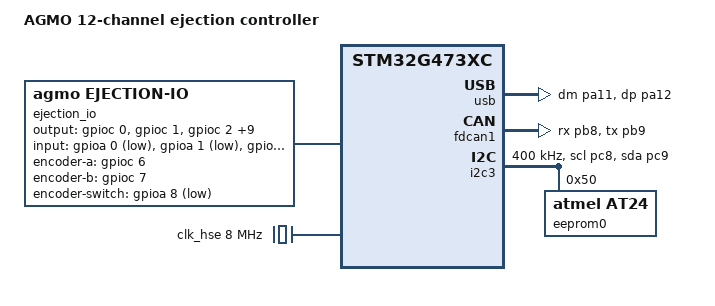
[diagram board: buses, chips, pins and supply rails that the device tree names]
/* SPDX-License-Identifier: Apache-2.0 */

/dts-v1/;
#include <st/g4/stm32g473Xc.dtsi>
#include <st/g4/stm32g473r(b-c-e)tx-pinctrl.dtsi>
#include "agmo_ejection-pinctrl.dtsi"

/ {
	model = "AGMO 12-channel ejection controller";
	compatible = "agmo,ejection-controller";

	chosen {
		zephyr,sram = &sram0;
		zephyr,flash = &flash0;
		zephyr,canbus = &fdcan1;
	};

	ejection_io: ejection-io {
		compatible = "agmo,ejection-io";

		/* MCU HIGH enables the input LED of each output optocoupler. */
		output-gpios = <&gpioc 0 GPIO_ACTIVE_HIGH>,
			       <&gpioc 1 GPIO_ACTIVE_HIGH>,
			       <&gpioc 2 GPIO_ACTIVE_HIGH>,
			       <&gpioc 3 GPIO_ACTIVE_HIGH>,
			       <&gpioa 4 GPIO_ACTIVE_HIGH>,
			       <&gpioa 5 GPIO_ACTIVE_HIGH>,
			       <&gpioa 6 GPIO_ACTIVE_HIGH>,
			       <&gpioa 7 GPIO_ACTIVE_HIGH>,
			       <&gpioc 4 GPIO_ACTIVE_HIGH>,
			       <&gpioc 5 GPIO_ACTIVE_HIGH>,
			       <&gpiob 0 GPIO_ACTIVE_HIGH>,
			       <&gpiob 1 GPIO_ACTIVE_HIGH>;

		/* TLP293 collectors are pulled up on the MCU side: active is low. */
		input-gpios = <&gpioa 0 GPIO_ACTIVE_LOW>,
			      <&gpioa 1 GPIO_ACTIVE_LOW>,
			      <&gpioa 2 GPIO_ACTIVE_LOW>,
			      <&gpioa 3 GPIO_ACTIVE_LOW>,
			      <&gpiob 7 GPIO_ACTIVE_LOW>,
			      <&gpiob 6 GPIO_ACTIVE_LOW>,
			      <&gpiob 5 GPIO_ACTIVE_LOW>,
			      <&gpiob 4 GPIO_ACTIVE_LOW>,
			      <&gpioa 15 GPIO_ACTIVE_LOW>,
			      <&gpioc 12 GPIO_ACTIVE_LOW>,
			      <&gpioc 11 GPIO_ACTIVE_LOW>,
			      <&gpioc 10 GPIO_ACTIVE_LOW>,
			      <&gpioc 13 GPIO_ACTIVE_LOW>,
			      <&gpioc 14 GPIO_ACTIVE_LOW>;

		encoder-a-gpios = <&gpioc 6 GPIO_ACTIVE_HIGH>;
		encoder-b-gpios = <&gpioc 7 GPIO_ACTIVE_HIGH>;
		encoder-switch-gpios = <&gpioa 8 GPIO_ACTIVE_LOW>;
	};
};

&clk_hsi48 {
	status = "okay";
};

&clk_hse {
	clock-frequency = <DT_FREQ_M(8)>;
	status = "okay";
};

&pll {
	div-m = <2>;
	mul-n = <85>;
	div-p = <7>;
	div-q = <2>;
	div-r = <2>;
	clocks = <&clk_hse>;
	status = "okay";
};

&rcc {
	clocks = <&pll>;
	clock-frequency = <DT_FREQ_M(170)>;
	ahb-prescaler = <1>;
	apb1-prescaler = <1>;
	apb2-prescaler = <1>;
};

zephyr_udc0: &usb {
	pinctrl-0 = <&usb_dm_pa11 &usb_dp_pa12>;
	pinctrl-names = "default";
	clocks = <&rcc STM32_CLOCK_BUS_APB1 0x00800000>,
		 <&rcc STM32_SRC_HSI48 CLK48_SEL(0)>;
	status = "okay";
};

&fdcan1 {
	pinctrl-0 = <&fdcan1_rx_pb8 &fdcan1_tx_pb9>;
	pinctrl-names = "default";
	clocks = <&rcc STM32_CLOCK_BUS_APB1 0x02000000>,
		 <&rcc STM32_SRC_PLL_Q FDCAN_SEL(1)>;
	status = "okay";
};

&i2c3 {
	pinctrl-0 = <&i2c3_scl_pc8 &i2c3_sda_pc9>;
	pinctrl-names = "default";
	clock-frequency = <400000>;
	status = "okay";

	eeprom0: eeprom@50 {
		compatible = "atmel,at24";
		reg = <0x50>;
		size = <DT_SIZE_K(32)>;
		pagesize = <64>;
		address-width = <16>;
		timeout = <5>;
	};
};

/* Routed to test nets only; keep disabled until a connector/use is defined. */
&usart1 {
	pinctrl-0 = <&usart1_tx_pa9 &usart1_rx_pa10>;
	pinctrl-names = "default";
	current-speed = <115200>;
	status = "disabled";
};
